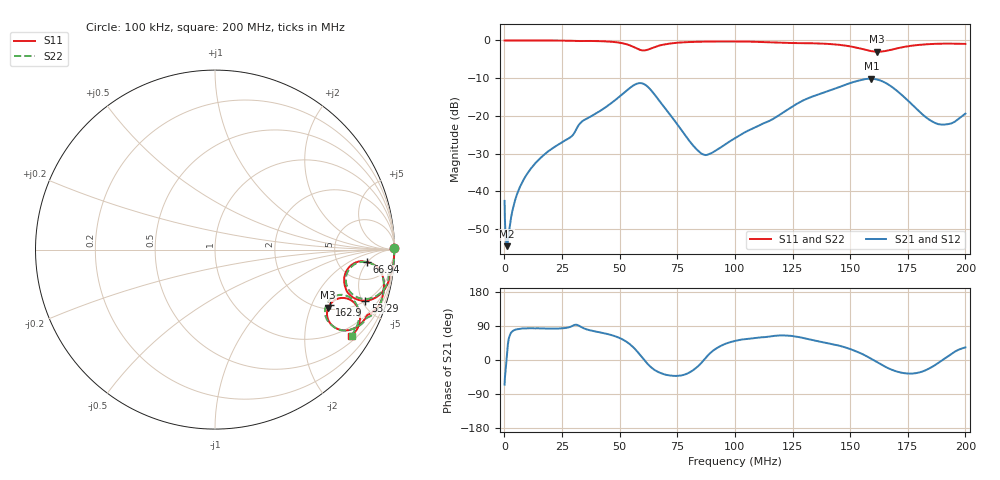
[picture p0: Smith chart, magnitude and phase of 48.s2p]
#  HZ  S  RI  R  50.00
! Rohde & Schwarz Vector Network Analyzer
! Rohde-Schwarz,ZNLE6-2Port,1323001256200024,1.71.1.10-23.02.1.238
! Created: UTC 4/7/2025, 2:14:36 AM
! freq[Hz]  re:S11  im:S11  re:S21  im:S21  re:S12  im:S12  re:S22  im:S22
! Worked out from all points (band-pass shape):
!   1001 points, 100 kHz to 200 MHz, reference 50 ohm
!   highest |S21| = -10.15 dB at 159.2 MHz (marker M1); lowest = -54.5 dB at 1.088 MHz (marker M2)
!   |S21| within 3 dB of the highest: 53.31 MHz to 63.57 MHz (10.26 MHz wide, 17.5 % of centre); 141.7 MHz to 169.9 MHz (28.15 MHz wide, 18.1 % of centre)
!   lowest |S11| = -3.0 dB at 161.7 MHz (marker M3), VSWR 5.87, Z = 103 - j134 ohm
!   |S11| at or under -10 dB: nowhere
!   |S22| runs from -3.2 to 0.0 dB; largest |S21 - S12| = 0.0068
!   S11 on the Smith chart (normalised r, x): 100 kHz: open; 53.29 MHz: 2.02, -5.30; 66.94 MHz: 10, -5; 162.9 MHz: 2.22, -2.74; 200 MHz: 0.66, -3.31
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100000  0.997 0.00661  0.00317 -0.00677  0.00318 -0.00679  0.9969 0.00648
355854.1  0.9974 0.00111  0.00266 -0.00203  0.00267 -0.00204  0.9973 0.0011
1087736  0.9982 -0.00321  0.00183 0.00044  0.00183 0.00044  0.9981 -0.0033
1266322  0.9983 -0.00408  0.00173 0.000871  0.00174 0.000873  0.9983 -0.00419
4472136  0.9984 -0.0189  0.00137 0.00721  0.00142 0.0072  0.9984 -0.0193
1.591428e7  0.9954 -0.0694  0.00327 0.028  0.00344 0.0279  0.9953 -0.0712
2.87917e7  0.9801 -0.1348  0.00198 0.0524  0.00202 0.0523  0.9714 -0.1385
4.340332e7  0.9477 -0.2169  0.0425 0.1195  0.0456 0.1183  0.9496 -0.2077
5.329062e7  0.8378 -0.2846  0.1503 0.1603  0.1524 0.1569  0.8443 -0.2751
5.663162e7  0.7594 -0.2599  0.2268 0.127  0.2283 0.1225  0.7692 -0.2517
6.110395e7  0.729 -0.1259  0.2581 -0.0139  0.2579 -0.0156  0.738 -0.126
6.693938e7  0.8469 -0.0697  0.1379 -0.0867  0.1355 -0.0915  0.8514 -0.0706
8.281529e7  0.941 -0.1793  0.0347 -0.0145  0.0345 -0.0154  0.9405 -0.1829
8.800731e7  0.9412 -0.2111  0.03 0.00559  0.0302 0.00484  0.9401 -0.2151
1.20188e8  0.8573 -0.3608  0.0454 0.0969  0.0461 0.0966  0.8606 -0.3735
1.399206e8  0.7918 -0.4298  0.1486 0.1488  0.1501 0.1457  0.7841 -0.4359
1.592205e8  0.6238 -0.3619  0.3104 0.0156  0.3079 0.00961  0.6125 -0.3518
1.616595e8  0.6305 -0.3236  0.3019 -0.0303  0.2988 -0.0363  0.6181 -0.3119
1.628929e8  0.6401 -0.3063  0.2913 -0.0515  0.288 -0.0574  0.6271 -0.2936
1.717946e8  0.7522 -0.2789  0.1653 -0.1069  0.1616 -0.1111  0.7423 -0.2607
1.867759e8  0.8059 -0.4016  0.0785 -0.0191  0.078 -0.0219  0.8012 -0.3898
2e8  0.7578 -0.4836  0.0896 0.0588  0.092 0.0567  0.7611 -0.4797
